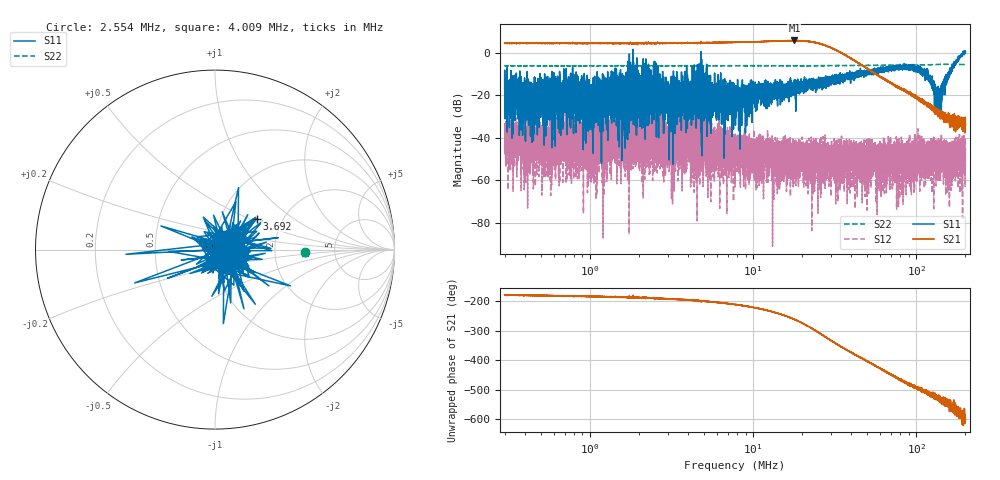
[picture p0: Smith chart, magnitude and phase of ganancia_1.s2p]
# Hz S DB R 50
! CMT, M5065, 19127446, 24.2.4/2
! Date: 11/1/2024 3:03:15 PM
! Data: Format (Calibration Info)
! Freq	S11:dB/Ang(F2)	S21:dB/Ang(F2)	S12:dB/Ang(F2)	S22:dB/Ang(F2)
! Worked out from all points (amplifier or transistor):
!   9000 points, 300 kHz to 200 MHz, reference 50 ohm
!   highest |S21| = 5.9 dB at 17.93 MHz (marker M1)
!   |S21| within 3 dB of that: start of sweep to 29.04 MHz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
!   unconditionally stable (mu >= 1): start of sweep to 1.744 MHz; 1.839 MHz to 4.779 MHz; 4.785 MHz to 192.8 MHz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
!   at 886.8 kHz: K = 21.39, MAG = 5.9 dB, |S12| = -39.7 dB
!   at 7.749 MHz: K = 43.83, MAG = 6.4 dB, |S12| = -46.5 dB
!   at 200 MHz: K = -627.98, MSG = 10.1 dB, |S12| = -53.6 dB
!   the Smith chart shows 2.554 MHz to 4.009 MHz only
!   S11 on the Smith chart (normalised r, x): 2.554 MHz: 1.19, -0.11; 3.692 MHz: 1.48, +0.56; 4.009 MHz: 1.19, +0.02
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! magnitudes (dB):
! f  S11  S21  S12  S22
! 300 kHz  -16.9  4.6  -43.2  -6.0
! 454.2 kHz  -30.1  4.7  -53.2  -6.1
! 505.5 kHz  -17.9  4.6  -36.6  -6.0
! 886.8 kHz  -24.0  4.6  -39.7  -6.0
! 1.066 MHz  -16.6  4.7  -39.8  -6.1
! 1.802 MHz  -16.5  4.5  -47.4  -6.0
! 2.554 MHz  -20.1  4.6  -46.6  -6.0
! 2.621 MHz  -19.3  4.6  -35.5  -6.1
! 3.692 MHz  -10.8  4.5  -54.5  -6.0
! 4.009 MHz  -21.1  4.7  -36.1  -6.0
! 4.666 MHz  -19.0  4.8  -37.6  -6.0
! 5.438 MHz  -19.8  4.9  -46.8  -6.0
! 7.749 MHz  -23.7  5.1  -46.5  -6.0
! 17.93 MHz  -12.7  5.9  -40.6  -6.0
! 22.91 MHz  -12.3  5.3  -83.7  -6.0
! 67.71 MHz  -7.2  -13.6  -46.7  -5.7
! 105 MHz  -7.9  -22.0  -44.8  -5.6
! 119.7 MHz  -10.8  -25.0  -51.9  -5.5
! 137.9 MHz  -21.9  -28.5  -47.0  -5.4
! 165.4 MHz  -7.2  -31.5  -48.5  -5.3
! 192.5 MHz  -0.3  -30.7  -48.8  -5.4
! 200 MHz  0.3  -33.4  -53.6  -5.4
